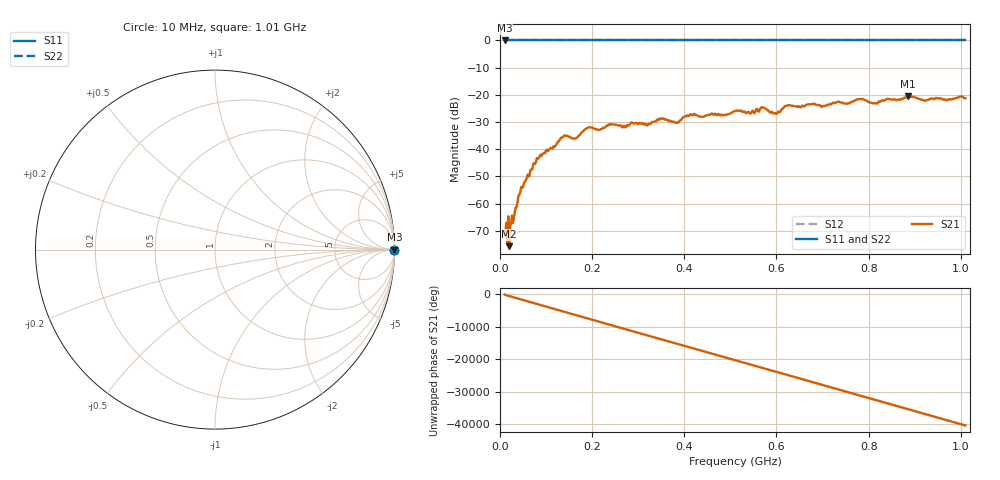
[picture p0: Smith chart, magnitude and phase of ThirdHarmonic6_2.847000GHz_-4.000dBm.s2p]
! 8/17/2025 7:40:50 AM
! C:\ANRITSUVNA\TEMP\TEMP.S2P
! CHANNEL.1
! TR.MEASUREMENT
! RAW.DATA
! RF.CORRECTION.OFF
! AVERAGING.OFF
! IF.BANDWIDTH: 5KHZ
! SWEEPTYPE:  FREQ.SWEEP(Linear)
! Reference Plane Port Info
! PORT:  PORT1  PORT2
! DISTANCE:  0  m  0  m
! TIME:  0  s  0  s
! PHASE.OFFSET:  0  deg.  0  deg.
! LOSS:  0  dB  0  dB
! REF.LOSS:  0  dB  0  dB
! REF.FREQ:  0  Hz  0  Hz
! Power Info
! POWER:  -20  dBm  -20  dBm
! EFF.POWER:  -20  dBm  -20  dBm
! SOURCE.ATTEN:  0  dB  0  dB
! TEST.ATTEN:  0  dB  0  dB
# GHZ S RI R 50.0
! FREQ.GHZ  S11RE  S11IM  S21RE  S21IM  S12RE  S12IM  S22RE  S22IM
!; PortSelection: Port_12
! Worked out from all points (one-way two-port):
!   501 points, 10 MHz to 1.01 GHz, reference 50 ohm
!   highest |S21| = -20.43 dB at 886 MHz (marker M1); lowest = -75.7 dB at 20 MHz (marker M2)
!   lowest |S11| = 0.0 dB at 10 MHz (marker M3)
!   |S11| at or under -10 dB: nowhere
!   |S22| runs from 0.0 to 0.0 dB; largest |S21 - S12| = 1.1
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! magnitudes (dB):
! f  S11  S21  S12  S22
! 10 MHz  0.0  -71.1  0.0  0.0
! 20 MHz  0.0  -75.7  0.0  0.0
! 44 MHz  0.0  -55.8  0.0  0.0
! 84 MHz  0.0  -43.3  0.0  0.0
! 136 MHz  0.0  -35.6  0.0  0.0
! 162 MHz  0.0  -36.1  0.0  0.0
! 178 MHz  0.0  -33.7  0.0  0.0
! 192 MHz  0.0  -32.0  0.0  0.0
! 322 MHz  0.0  -30.8  0.0  0.0
! 344 MHz  0.0  -29.2  0.0  0.0
! 384 MHz  0.0  -30.1  0.0  0.0
! 416 MHz  0.0  -27.4  0.0  0.0
! 510 MHz  0.0  -26.0  0.0  0.0
! 548 MHz  0.0  -25.8  0.0  0.0
! 570 MHz  0.0  -24.6  0.0  0.0
! 598 MHz  0.0  -26.8  0.0  0.0
! 622 MHz  0.0  -24.0  0.0  0.0
! 678 MHz  0.0  -23.3  0.0  0.0
! 814 MHz  0.0  -23.0  0.0  0.0
! 844 MHz  0.0  -21.5  0.0  0.0
! 886 MHz  0.0  -20.4  0.0  0.0
! 1.01 GHz  0.0  -21.2  0.0  0.0
